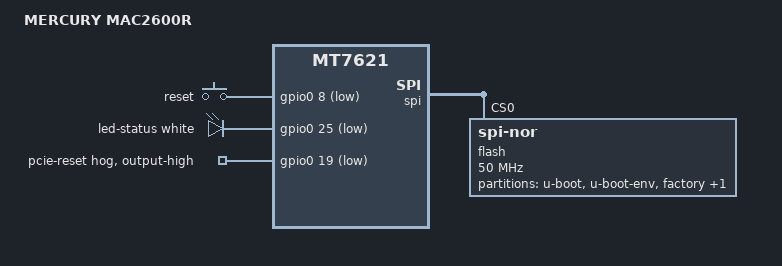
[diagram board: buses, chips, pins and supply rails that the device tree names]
// SPDX-License-Identifier: GPL-2.0-or-later

/dts-v1/;

#include "mt7621.dtsi"

#include <dt-bindings/gpio/gpio.h>
#include <dt-bindings/input/input.h>
#include <dt-bindings/leds/common.h>

/ {
	compatible = "mercury,mac2600r", "mediatek,mt7621-soc";
	model = "MERCURY MAC2600R";

	aliases {
		serial0 = &uart0;
		spi0 = &spi;
	};

	chosen {
		stdout-path = &uart0;
	};

	config {
		boot-btn1 = "reset";
		boot-led1 = "white:status";
		bootcmd_1-1 = "tftp_load_initramfs_loop";
		bootcmd_1-2 = "tftp_restore_system_loop";
		bootcmd_1-3 = "config_netconsole";
	};

	gpio-keys {
		compatible = "gpio-keys";

		button-reset {
			label = "reset";
			gpios = <&gpio0 8 GPIO_ACTIVE_LOW>;
			linux,code = <KEY_RESTART>;
		};
	};

	gpio-leds {
		compatible = "gpio-leds";

		led-status {
			color = <LED_COLOR_ID_WHITE>;
			function = LED_FUNCTION_STATUS;
			gpios = <&gpio0 25 GPIO_ACTIVE_LOW>;
			default-state = "on";
		};
	};
};

&eth_pins {
	/delete-node/ rgmii2_pins;
};

&gpio0 {
	pcie-reset {
		gpio-hog;
		gpios = <19 GPIO_ACTIVE_LOW>;
		output-high;
	};
};

&spi {
	status = "okay";

	flash@0 {
		compatible = "jedec,spi-nor";
		reg = <0>;
		spi-max-frequency = <50000000>;

		partitions {
			compatible = "fixed-partitions";
			#address-cells = <1>;
			#size-cells = <1>;

			partition@0 {
				label = "u-boot";
				reg = <0x000000 0x030000>;
			};

			partition@30000 {
				label = "u-boot-env";
				reg = <0x030000 0x010000>;
			};

			partition@40000 {
				label = "factory";
				reg = <0x040000 0x010000>;
			};

			partition@50000 {
				label = "firmware";
				reg = <0x050000 0xfb0000>;
			};
		};
	};
};

&state_default {
	/delete-node/ spi-nand_pins;
	/delete-node/ sdxc-nand_pins;
};
